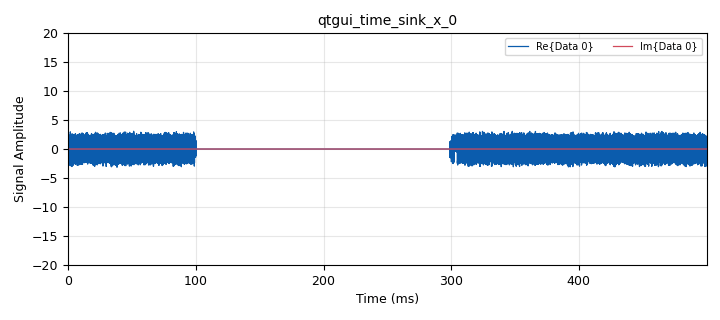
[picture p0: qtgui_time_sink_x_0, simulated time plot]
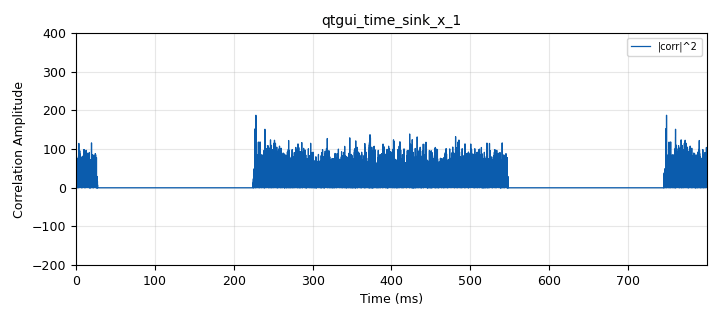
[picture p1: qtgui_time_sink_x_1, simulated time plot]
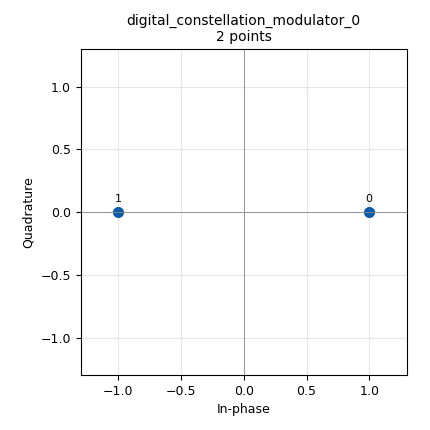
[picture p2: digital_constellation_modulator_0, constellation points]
options:
  parameters:
    author: Qi Xiong
    category: Custom
    generate_options: qt_gui
    id: test_corr_est
    output_language: python
    title: corr_test
  states: {}

blocks:
- name: bb_filter
  id: variable
  parameters:
    value: firdes.root_raised_cosine(sps, sps, 1, eb, 101)
  states: {}
- name: constel
  id: variable_constellation
  parameters:
    const_points: '[1,-1]'
    dims: '1'
    normalization: digital.constellation.AMPLITUDE_NORMALIZATION
    precision: '8'
    rot_sym: '2'
    sym_map: '[0,1]'
    type: calcdist
  states: {}
- name: data
  id: variable
  parameters:
    value: '[0]*4+[random.getrandbits(8) for i in range(payload_size)]'
  states: {}
- name: delay
  id: variable_qtgui_range
  parameters:
    gui_hint: 5,0,1,2
    label: delay
    start: '0'
    step: '1'
    stop: '200'
    value: '90'
  states: {state: disabled}
- name: delay_0
  id: variable_qtgui_range
  parameters:
    gui_hint: 5,1,1,1
    label: Timing Delay
    rangeType: int
    start: '0'
    step: '1'
    stop: int(0.1*samp_rate)
    value: int(0.001*samp_rate)
  states: {}
- name: eb
  id: variable
  parameters:
    value: '0.35'
  states: {}
- name: freq_offset
  id: variable_qtgui_range
  parameters:
    gui_hint: 4,0,1,1
    label: Frequency Offset
    start: '-0.001'
    step: '0.00002'
    stop: '0.001'
    value: '0'
    widget: slider
  states: {}
- name: gap
  id: variable
  parameters:
    value: '20000'
  states: {}
- name: matched_filter
  id: variable
  parameters:
    value: firdes.root_raised_cosine(nfilts, nfilts, 1, eb, int(11*sps*nfilts))
  states: {}
- name: modulated_sync_word
  id: variable_modulate_vector
  parameters:
    data: preamble
    mod: rxmod
    taps: '[1]'
  states: {}
- name: nfilts
  id: variable
  parameters:
    value: '32'
  states: {}
- name: noise
  id: variable_qtgui_range
  parameters:
    gui_hint: 3,0,1,1
    label: Noise
    start: '0'
    step: '0.005'
    stop: '1'
    value: '0'
    widget: slider
  states: {}
- name: osci_diff
  id: variable_qtgui_range
  parameters:
    gui_hint: 4,1,1,1
    label: Timing Offset
    start: '0.995'
    step: '0.00001'
    stop: '1.005'
    value: '1'
    widget: slider
  states: {}
- name: payload_size
  id: variable
  parameters:
    value: '992'
  states: {}
- name: phase
  id: variable_qtgui_range
  parameters:
    gui_hint: 3,1,1,1
    label: Phase offset
    start: '-2*numpy.pi'
    step: '0.1'
    stop: 2*numpy.pi
    value: '0'
    widget: eng
  states: {}
- name: preamble
  id: variable
  parameters:
    value: '[0xac, 0xdd, 0xa4, 0xe2, 0xf2, 0x8c, 0x20, 0xfc]'
  states: {}
- name: rrc_taps
  id: variable
  parameters:
    value: firdes.root_raised_cosine(nfilts, nfilts, 1.0/float(sps), eb, 5*sps*nfilts)
  states: {}
- name: rxmod
  id: variable
  parameters:
    value: digital.generic_mod(constel, False, sps, True, eb, False, False)
  states: {}
- name: samp_rate
  id: variable
  parameters:
    value: '100000'
  states: {}
- name: sps
  id: variable
  parameters:
    value: '4'
  states: {}
- name: trigger_0
  id: variable_qtgui_range
  parameters:
    gui_hint: 5,0,1,1
    label: trigger
    start: '0'
    step: '1'
    stop: '400'
    value: '100'
    widget: dial
  states: {}
- name: blocks_add_xx_0
  id: blocks_add_xx
  parameters:
    type: complex
  states: {}
- name: blocks_char_to_float_0
  id: blocks_char_to_float
  parameters:
    scale: '1'
  states: {state: disabled}
- name: blocks_char_to_float_0_0
  id: blocks_char_to_float
  parameters:
    scale: '1'
  states: {state: disabled}
- name: blocks_complex_to_float_0
  id: blocks_complex_to_float
  parameters: {}
  states: {state: disabled}
- name: blocks_complex_to_mag_0
  id: blocks_complex_to_mag
  parameters: {}
  states: {}
- name: blocks_delay_0
  id: blocks_delay
  parameters:
    delay: int(delay)
    type: float
  states: {state: disabled}
- name: blocks_delay_1
  id: blocks_delay
  parameters:
    delay: delay_0
    type: complex
  states: {}
- name: blocks_null_source_0
  id: blocks_null_source
  parameters:
    type: byte
  states: {state: disabled}
- name: blocks_null_source_0_0
  id: blocks_null_source
  parameters:
    type: complex
  states: {}
- name: blocks_stream_mux_0
  id: blocks_stream_mux
  parameters:
    lengths: (len(preamble)/8+payload_size), gap/sps/8
    type: byte
  states: {state: disabled}
- name: blocks_stream_mux_0_0
  id: blocks_stream_mux
  parameters:
    lengths: ((len(preamble)+len(data))*8*sps, gap)
    type: complex
  states: {}
- name: blocks_sub_xx_0
  id: blocks_sub_xx
  parameters:
    type: float
  states: {state: disabled}
- name: blocks_unpack_k_bits_bb_0
  id: blocks_unpack_k_bits_bb
  parameters:
    k: '8'
  states: {state: disabled}
- name: blocks_vector_source_x_0_0
  id: blocks_vector_source_x
  parameters:
    repeat: 'True'
    type: byte
    vector: preamble+data
  states: {}
- name: channels_channel_model_0
  id: channels_channel_model
  parameters:
    epsilon: osci_diff
    freq_offset: freq_offset
    noise_voltage: noise
    seed: '0'
    taps: '1.0'
  states: {}
- name: channels_channel_model_0_0
  id: channels_channel_model
  parameters:
    epsilon: '1'
    freq_offset: '0'
    noise_voltage: noise
    seed: '0'
    taps: '1.0'
  states: {}
- name: digital_constellation_decoder_cb_0
  id: digital_constellation_decoder_cb
  parameters:
    constellation: constel
  states: {state: disabled}
- name: digital_constellation_modulator_0
  id: digital_constellation_modulator
  parameters:
    constellation: constel
    differential: 'False'
    excess_bw: eb
    samples_per_symbol: sps
  states: {}
- name: digital_corr_est_cc_0
  id: digital_corr_est_cc
  parameters:
    mark_delay: '1'
    sps: sps
    symbols: modulated_sync_word
    threshold: '0.9'
    threshold_method: digital.THRESHOLD_ABSOLUTE
  states: {}
- name: digital_costas_loop_cc_0
  id: digital_costas_loop_cc
  parameters:
    order: '2'
    w: 1*3.14/50.0
  states: {state: disabled}
- name: digital_pfb_clock_sync_xxx_0
  id: digital_pfb_clock_sync_xxx
  parameters:
    filter_size: nfilts
    init_phase: '0'
    loop_bw: 2*3.14/100.0
    max_dev: '0.5'
    osps: '1'
    sps: sps
    taps: rrc_taps
    type: ccf
  states: {state: disabled}
- name: import_0
  id: import
  parameters:
    imports: import numpy
  states: {}
- name: import_0_0
  id: import
  parameters:
    imports: import random
  states: {}
- name: qtgui_const_sink_x_0
  id: qtgui_const_sink_x
  parameters:
    gui_hint: 0,1,1,1
    name: ''
    size: (len(preamble)+payload_size)*8
    tr_level: '0'
    tr_mode: qtgui.TRIG_MODE_TAG
    tr_tag: time_est
    type: complex
  states: {state: disabled}
- name: qtgui_time_sink_x_0
  id: qtgui_time_sink_x
  parameters:
    affinity: '0'
    gui_hint: 0,0,1,1
    label1: ''
    label2: ''
    name: ''
    size: '50000'
    srate: samp_rate
    tr_delay: '0.1'
    tr_level: '1'
    tr_mode: qtgui.TRIG_MODE_AUTO
    tr_tag: time_est
    type: complex
    ylabel: Signal Amplitude
    ymax: '20'
    ymin: '-20'
  states: {}
- name: qtgui_time_sink_x_0_1
  id: qtgui_time_sink_x
  parameters:
    gui_hint: 2,0,1,2
    label1: ''
    label2: ''
    label3: ''
    name: ''
    nconnections: '3'
    size: '20000'
    srate: samp_rate
    tr_delay: '0.010'
    tr_mode: qtgui.TRIG_MODE_TAG
    tr_tag: time_est
    type: float
    ymax: '2'
    ymin: '-2'
  states: {state: disabled}
- name: qtgui_time_sink_x_1
  id: qtgui_time_sink_x
  parameters:
    entags: 'False'
    gui_hint: 1,0,1,2
    label1: '|corr|^2'
    name: ''
    size: '80000'
    srate: samp_rate
    tr_level: trigger_0
    tr_mode: qtgui.TRIG_MODE_NORM
    type: float
    ylabel: Correlation Amplitude
    ymax: '400'
    ymin: '-200'
  states: {}

connections:
- [blocks_add_xx_0, '0', digital_corr_est_cc_0, '0']
- [blocks_char_to_float_0, '0', blocks_delay_0, '0']
- [blocks_char_to_float_0_0, '0', blocks_sub_xx_0, '0']
- [blocks_char_to_float_0_0, '0', qtgui_time_sink_x_0_1, '0']
- [blocks_complex_to_mag_0, '0', qtgui_time_sink_x_1, '0']
- [blocks_delay_0, '0', blocks_sub_xx_0, '1']
- [blocks_delay_0, '0', qtgui_time_sink_x_0_1, '1']
- [blocks_delay_1, '0', blocks_add_xx_0, '1']
- [blocks_null_source_0, '0', blocks_stream_mux_0, '1']
- [blocks_null_source_0_0, '0', blocks_stream_mux_0_0, '1']
- [blocks_stream_mux_0, '0', blocks_unpack_k_bits_bb_0, '0']
- [blocks_stream_mux_0_0, '0', channels_channel_model_0, '0']
- [blocks_stream_mux_0_0, '0', channels_channel_model_0_0, '0']
- [blocks_sub_xx_0, '0', qtgui_time_sink_x_0_1, '2']
- [blocks_unpack_k_bits_bb_0, '0', blocks_char_to_float_0, '0']
- [blocks_vector_source_x_0_0, '0', digital_constellation_modulator_0, '0']
- [channels_channel_model_0, '0', blocks_add_xx_0, '0']
- [channels_channel_model_0_0, '0', blocks_delay_1, '0']
- [digital_constellation_decoder_cb_0, '0', blocks_char_to_float_0_0, '0']
- [digital_constellation_modulator_0, '0', blocks_stream_mux_0_0, '0']
- [digital_corr_est_cc_0, '0', qtgui_time_sink_x_0, '0']
- [digital_corr_est_cc_0, '1', blocks_complex_to_float_0, '0']
- [digital_corr_est_cc_0, '1', blocks_complex_to_mag_0, '0']
- [digital_costas_loop_cc_0, '0', digital_constellation_decoder_cb_0, '0']
- [digital_costas_loop_cc_0, '0', qtgui_const_sink_x_0, '0']
- [digital_pfb_clock_sync_xxx_0, '0', digital_costas_loop_cc_0, '0']

metadata:
  file_format: 1
  grc_version: 3.10.9.2
